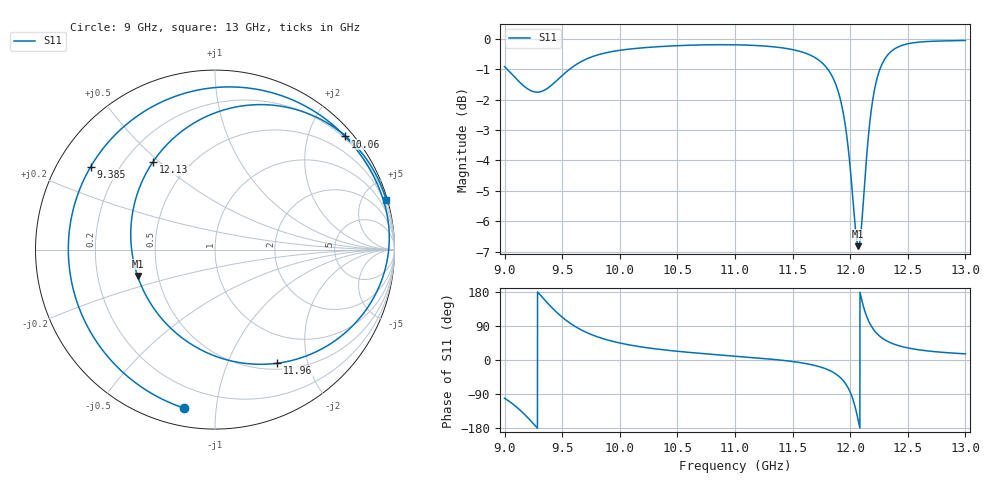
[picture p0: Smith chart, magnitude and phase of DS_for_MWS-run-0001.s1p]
! TOUCHSTONE file generated by CST DESIGN STUDIO
! Date and time: Tue Feb  4 16:28:29 2025
! Project name: C:\Work\MatlabApps\UnitCellOptimizationMatlab\CST\unitcell.cst
! Tree item: Tasks\Sweep1\SPara1\S-Parameters
! Header version: 2024
! Port assignment regex: !\s*Touchstone port\s*([0-9]+)\s*=\s*(CST MWS port|CST DES external port|CST DES block port)\s*(.+)\s* \(\"(.*)\"\)(\s*mode\s*([0-9]+))?.*
! Touchstone port assignment:
! Touchstone port 1 = CST DES external port 1 ("")
# GHz S MA R 50
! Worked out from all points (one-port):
!   4001 points, 9 GHz to 13 GHz, reference 50 ohm
!   lowest |S11| = -6.8 dB at 12.07 GHz (marker M1), VSWR 2.68, Z = 19.1 - j7.09 ohm
!   |S11| at or under -10 dB: nowhere
!   S11 on the Smith chart (normalised r, x): 9 GHz: 0.09, -0.82; 9.385 GHz: 0.10, +0.30; 10.06 GHz: 0.16, +2.67; 11.96 GHz: 0.58, -1.53; 12.13 GHz: 0.31, +0.48; 13 GHz: 0.15, +6.98
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9  0.9001 -101.0
9.116  0.8542 -127.4
9.231  0.8213 -161.8
9.307  0.8182 172.5
9.385  0.8326 146.3
9.5  0.8704 112.9
9.601  0.9019 90.6
9.733  0.9305 69.7
10  0.9577 44.8
10.062  0.9611 41.0
10.5  0.9746 23.0
11  0.9779 10.2
11.5  0.9602 -4.0
11.684  0.9341 -13.8
11.805  0.8918 -25.4
11.89  0.826 -40.1
11.957  0.7218 -61.3
12  0.6141 -84.8
12.035  0.5125 -115.2
12.071  0.4558 -161.2
12.1  0.4966 158.8
12.131  0.5989 125.2
12.161  0.7013 102.2
12.193  0.7877 84.8
12.285  0.916 56.3
12.375  0.96 42.4
12.5  0.9816 31.9
13  0.9941 16.3
